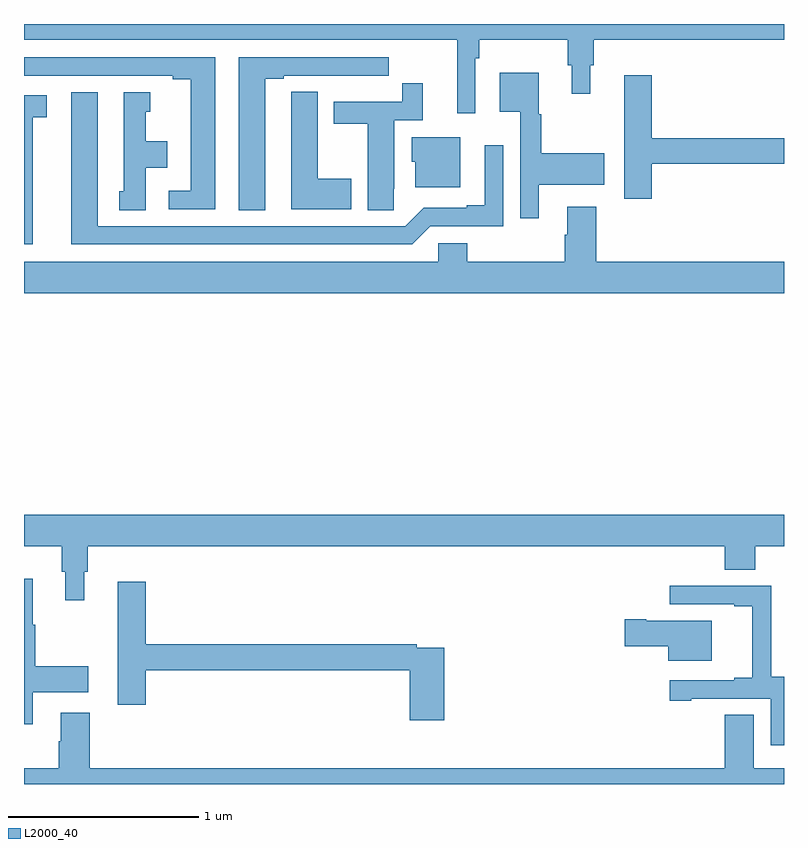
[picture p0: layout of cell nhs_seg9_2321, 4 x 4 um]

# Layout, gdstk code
import gdstk
lib = gdstk.Library(unit=1e-6, precision=1e-09)
def P(c, l, *ps):  # polygons
    for p in ps: c.add(gdstk.Polygon(p, *l))
L2000_40 = (2000, 40)

nhs_seg9_2321 = lib.new_cell('nhs_seg9_2321')
P(nhs_seg9_2321, L2000_40, [(245.376,1200.32),(245.396,1200.32),(245.396,1200.416),(245.863,1200.416),(245.863,1200.282),(245.882,1200.282),(245.882,1200.132),(245.98,1200.132),(245.98,1200.282),(245.999,1200.282),(245.999,1200.416),(247,1200.416),(247,1200.5),(243,1200.5),(243,1200.416),(245.279,1200.416),(245.279,1200.03),(245.376,1200.03)],
  [(244.27,1200.213),(244.366,1200.213),(244.366,1200.228),(244.642,1200.228),(244.642,1200.227),(244.808,1200.227),(244.808,1200.228),(244.921,1200.228),(244.921,1200.324),(244.13,1200.324),(244.13,1199.521),(244.27,1199.521)],
  [(244.006,1200.324),(243,1200.324),(243,1200.228),(243.782,1200.228),(243.782,1200.208),(243.878,1200.208),(243.878,1199.622),(243.762,1199.622),(243.762,1199.526),(244.006,1199.526)],
  [(245.71,1199.654),(246.055,1199.654),(246.055,1199.82),(245.722,1199.82),(245.722,1200.024),(245.71,1200.024),(245.71,1200.244),(245.504,1200.244),(245.504,1200.038),(245.613,1200.038),(245.613,1199.478),(245.71,1199.478)],
  [(246.305,1199.764),(247,1199.764),(247,1199.9),(246.305,1199.9),(246.305,1200.229),(246.158,1200.229),(246.158,1199.58),(246.305,1199.58)],
  [(244.947,1199.632),(244.948,1199.632),(244.948,1199.994),(245.099,1199.994),(245.099,1200.187),(244.99,1200.187),(244.99,1200.09),(244.631,1200.09),(244.631,1199.974),(244.808,1199.974),(244.808,1199.521),(244.947,1199.521)],
  [(244.723,1199.685),(244.546,1199.685),(244.546,1200.143),(244.407,1200.143),(244.407,1200.035),(244.406,1200.035),(244.406,1199.525),(244.723,1199.525)],
  [(243.64,1199.744),(243.754,1199.744),(243.754,1199.884),(243.64,1199.884),(243.64,1200.039),(243.664,1200.039),(243.664,1200.142),(243.524,1200.142),(243.524,1199.619),(243.5,1199.619),(243.5,1199.521),(243.64,1199.521)],
  [(245.139,1199.436),(245.523,1199.436),(245.523,1199.863),(245.426,1199.863),(245.426,1199.545),(245.33,1199.545),(245.33,1199.532),(245.103,1199.532),(245.007,1199.436),(243.388,1199.436),(243.388,1200.142),(243.248,1200.142),(243.248,1199.34),(245.043,1199.34)],
  [(243.046,1200.01),(243.121,1200.01),(243.121,1200.126),(243,1200.126),(243,1199.34),(243.046,1199.34)],
  [(245.296,1199.905),(245.042,1199.905),(245.042,1199.775),(245.06,1199.775),(245.06,1199.642),(245.296,1199.642)],
  [(247,1199.248),(246.011,1199.248),(246.011,1199.539),(245.858,1199.539),(245.858,1199.39),(245.846,1199.39),(245.846,1199.248),(245.333,1199.248),(245.333,1199.346),(245.181,1199.346),(245.181,1199.248),(243,1199.248),(243,1199.084),(247,1199.084)],
  [(243.316,1197.618),(243.335,1197.618),(243.335,1197.752),(246.689,1197.752),(246.689,1197.628),(246.849,1197.628),(246.849,1197.752),(247,1197.752),(247,1197.916),(243,1197.916),(243,1197.752),(243.199,1197.752),(243.199,1197.618),(243.218,1197.618),(243.218,1197.468),(243.316,1197.468)],
  [(243.046,1196.984),(243.337,1196.984),(243.337,1197.119),(243.058,1197.119),(243.058,1197.339),(243.046,1197.339),(243.046,1197.58),(243,1197.58),(243,1196.814),(243.046,1196.814)],
  [(245.213,1197.216),(245.066,1197.216),(245.066,1197.236),(243.641,1197.236),(243.641,1197.565),(243.494,1197.565),(243.494,1196.916),(243.641,1196.916),(243.641,1197.1),(245.03,1197.1),(245.03,1196.835),(245.213,1196.835)],
  [(247,1197.065),(246.933,1197.065),(246.933,1197.543),(246.399,1197.543),(246.399,1197.447),(246.737,1197.447),(246.737,1197.435),(246.833,1197.435),(246.833,1197.058),(246.737,1197.058),(246.737,1197.045),(246.399,1197.045),(246.399,1196.937),(246.511,1196.937),(246.511,1196.949),(246.93,1196.949),(246.93,1196.703),(247,1196.703)],
  [(246.619,1197.358),(246.274,1197.358),(246.274,1197.366),(246.162,1197.366),(246.162,1197.224),(246.392,1197.224),(246.392,1197.149),(246.619,1197.149)],
  [(247,1196.584),(246.841,1196.584),(246.841,1196.864),(246.689,1196.864),(246.689,1196.584),(243.347,1196.584),(243.347,1196.875),(243.194,1196.875),(243.194,1196.726),(243.182,1196.726),(243.182,1196.584),(243,1196.584),(243,1196.5),(247,1196.5)])

lib.write_gds('nhs_seg9_2321.gds')
